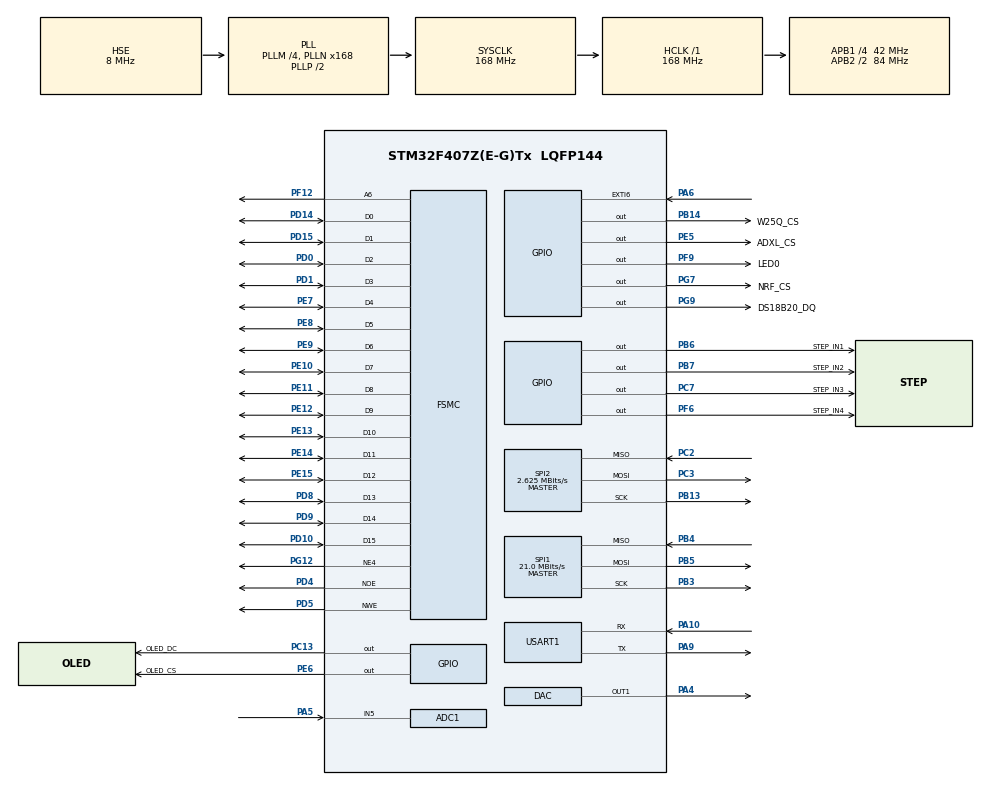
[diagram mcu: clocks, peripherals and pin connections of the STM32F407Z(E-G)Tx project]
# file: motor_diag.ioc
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ADC1.Channel-0\#ChannelRegularConversion=ADC_CHANNEL_5
ADC1.DMAContinuousRequests=ENABLE
ADC1.ExternalTrigConv=ADC_EXTERNALTRIGCONV_T2_TRGO
ADC1.NbrOfConversionFlag=1
ADC1.Rank-0\#ChannelRegularConversion=1
ADC1.SamplingTime-0\#ChannelRegularConversion=ADC_SAMPLETIME_15CYCLES
ADC1.master=1
DAC.DAC_Trigger=DAC_TRIGGER_T6_TRGO
Dma.ADC1.2.Direction=DMA_PERIPH_TO_MEMORY
Dma.ADC1.2.FIFOMode=DMA_FIFOMODE_DISABLE
Dma.ADC1.2.Instance=DMA2_Stream0
Dma.ADC1.2.MemDataAlignment=DMA_MDATAALIGN_HALFWORD
Dma.ADC1.2.MemInc=DMA_MINC_ENABLE
Dma.ADC1.2.Mode=DMA_CIRCULAR
Dma.ADC1.2.PeriphDataAlignment=DMA_PDATAALIGN_HALFWORD
Dma.ADC1.2.PeriphInc=DMA_PINC_DISABLE
Dma.ADC1.2.Priority=DMA_PRIORITY_LOW
Dma.DAC1.1.Direction=DMA_MEMORY_TO_PERIPH
Dma.DAC1.1.FIFOMode=DMA_FIFOMODE_DISABLE
Dma.DAC1.1.Instance=DMA1_Stream5
Dma.DAC1.1.MemDataAlignment=DMA_MDATAALIGN_HALFWORD
Dma.DAC1.1.MemInc=DMA_MINC_ENABLE
Dma.DAC1.1.Mode=DMA_CIRCULAR
Dma.DAC1.1.PeriphDataAlignment=DMA_PDATAALIGN_HALFWORD
Dma.DAC1.1.PeriphInc=DMA_PINC_DISABLE
Dma.DAC1.1.Priority=DMA_PRIORITY_LOW
Dma.Request0=USART1_RX
Dma.Request1=DAC1
Dma.Request2=ADC1
Dma.USART1_RX.0.Direction=DMA_PERIPH_TO_MEMORY
Dma.USART1_RX.0.FIFOMode=DMA_FIFOMODE_DISABLE
Dma.USART1_RX.0.Instance=DMA2_Stream2
Dma.USART1_RX.0.MemDataAlignment=DMA_MDATAALIGN_BYTE
Dma.USART1_RX.0.MemInc=DMA_MINC_ENABLE
Dma.USART1_RX.0.Mode=DMA_NORMAL
Dma.USART1_RX.0.PeriphDataAlignment=DMA_PDATAALIGN_BYTE
Dma.USART1_RX.0.PeriphInc=DMA_PINC_DISABLE
Dma.USART1_RX.0.Priority=DMA_PRIORITY_LOW
FREERTOS.Tasks01=defaultTask,24,256,StartDefaultTask,Default,NULL,Dynamic,NULL,NULL
FREERTOS.configCHECK_FOR_STACK_OVERFLOW=2
FREERTOS.configTOTAL_HEAP_SIZE=32768
FREERTOS.configUSE_STATS_FORMATTING_FUNCTIONS=1
IWDG.Prescaler=IWDG_PRESCALER_64
IWDG.Reload=1000
Mcu.Family=STM32F4
Mcu.Name=STM32F407Z(E-G)Tx
Mcu.Package=LQFP144
NVIC.DMA1_Stream5_IRQn=true\:5\:0\:false\:false\:true\:true\:false\:true\:true
NVIC.DMA2_Stream0_IRQn=true\:5\:0\:false\:false\:true\:true\:false\:true\:true
NVIC.DMA2_Stream2_IRQn=true\:6\:0\:true\:false\:true\:true\:false\:true\:true
NVIC.EXTI9_5_IRQn=true\:6\:0\:true\:false\:true\:true\:true\:true\:true
NVIC.PriorityGroup=NVIC_PRIORITYGROUP_4
NVIC.TIM7_IRQn=true\:3\:0\:true\:false\:true\:false\:true\:true\:true
NVIC.TIM8_TRG_COM_TIM14_IRQn=true\:15\:0\:false\:false\:true\:false\:false\:true\:true
NVIC.TimeBase=TIM8_TRG_COM_TIM14_IRQn
NVIC.TimeBaseIP=TIM14
NVIC.USART1_IRQn=true\:6\:0\:true\:false\:true\:true\:true\:true\:true
PA10.Mode=Asynchronous
PA10.Signal=USART1_RX
PA13.Mode=Serial_Wire
PA13.Signal=SYS_JTMS-SWDIO
PA14.Mode=Serial_Wire
PA14.Signal=SYS_JTCK-SWCLK
PA4.Signal=COMP_DAC1_group
PA5.Signal=ADCx_IN5
PA6.Signal=GPXTI6
PA9.Mode=Asynchronous
PA9.Signal=USART1_TX
PB13.Mode=Full_Duplex_Master
PB13.Signal=SPI2_SCK
PB14.GPIO_Label=W25Q_CS
PB14.GPIO_Speed=GPIO_SPEED_FREQ_VERY_HIGH
PB14.PinState=GPIO_PIN_SET
PB14.Signal=GPIO_Output
PB3.Mode=Full_Duplex_Master
PB3.Signal=SPI1_SCK
PB4.Mode=Full_Duplex_Master
PB4.Signal=SPI1_MISO
PB5.Mode=Full_Duplex_Master
PB5.Signal=SPI1_MOSI
PB6.GPIO_Label=STEP_IN1
PB6.Signal=GPIO_Output
PB7.GPIO_Label=STEP_IN2
PB7.Signal=GPIO_Output
PC13-ANTI_TAMP.GPIO_Label=OLED_DC
PC13-ANTI_TAMP.Signal=GPIO_Output
PC2.Mode=Full_Duplex_Master
PC2.Signal=SPI2_MISO
PC3.Mode=Full_Duplex_Master
PC3.Signal=SPI2_MOSI
PC7.GPIO_Label=STEP_IN3
PC7.Signal=GPIO_Output
PD0.Signal=FSMC_D2_DA2
PD1.Signal=FSMC_D3_DA3
PD10.Signal=FSMC_D15_DA15
PD14.Signal=FSMC_D0_DA0
PD15.Signal=FSMC_D1_DA1
PD4.Signal=FSMC_NOE
PD5.Signal=FSMC_NWE
PD8.Signal=FSMC_D13_DA13
PD9.Signal=FSMC_D14_DA14
PE10.Signal=FSMC_D7_DA7
PE11.Signal=FSMC_D8_DA8
PE12.Signal=FSMC_D9_DA9
PE13.Signal=FSMC_D10_DA10
PE14.Signal=FSMC_D11_DA11
PE15.Signal=FSMC_D12_DA12
PE5.GPIO_Label=ADXL_CS
PE5.GPIO_Speed=GPIO_SPEED_FREQ_HIGH
PE5.PinState=GPIO_PIN_SET
PE5.Signal=GPIO_Output
PE6.GPIO_Label=OLED_CS
PE6.GPIO_Speed=GPIO_SPEED_FREQ_HIGH
PE6.PinState=GPIO_PIN_SET
PE6.Signal=GPIO_Output
PE7.Signal=FSMC_D4_DA4
PE8.Signal=FSMC_D5_DA5
PE9.Signal=FSMC_D6_DA6
PF12.Signal=FSMC_A6
PF6.GPIO_Label=STEP_IN4
PF6.Signal=GPIO_Output
PF9.GPIO_Label=LED0
PF9.Signal=GPIO_Output
PG12.Mode=NorPsramChipSelect4_1
PG12.Signal=FSMC_NE4
PG7.GPIO_Label=NRF_CS
PG7.PinState=GPIO_PIN_SET
PG7.Signal=GPIO_Output
PG9.GPIO_Label=DS18B20_DQ
PG9.GPIO_ModeDefaultOutputPP=GPIO_MODE_OUTPUT_OD
PG9.GPIO_PuPd=GPIO_NOPULL
PG9.GPIO_Speed=GPIO_SPEED_FREQ_HIGH
PG9.PinState=GPIO_PIN_SET
PG9.Signal=GPIO_Output
PH0-OSC_IN.Mode=HSE-External-Oscillator
PH0-OSC_IN.Signal=RCC_OSC_IN
PH1-OSC_OUT.Mode=HSE-External-Oscillator
PH1-OSC_OUT.Signal=RCC_OSC_OUT
ProjectManager.HeapSize=0x200
ProjectManager.StackSize=0x400
ProjectManager.TargetToolchain=MDK-ARM V5.32
RCC.48MHZClocksFreq_Value=84000000
RCC.AHBFreq_Value=168000000
RCC.APB1CLKDivider=RCC_HCLK_DIV4
RCC.APB1Freq_Value=42000000
RCC.APB1TimFreq_Value=84000000
RCC.APB2CLKDivider=RCC_HCLK_DIV2
RCC.APB2Freq_Value=84000000
RCC.APB2TimFreq_Value=168000000
RCC.CortexFreq_Value=168000000
RCC.HCLKFreq_Value=168000000
RCC.HSE_VALUE=8000000
RCC.HSI_VALUE=16000000
RCC.LSE_VALUE=32768
RCC.PLLM=4
RCC.PLLN=168
RCC.PLLSourceVirtual=RCC_PLLSOURCE_HSE
RCC.SYSCLKFreq_VALUE=168000000
RCC.SYSCLKSource=RCC_SYSCLKSOURCE_PLLCLK
RCC.VCOOutputFreq_Value=336000000
SH.ADCx_IN5.0=ADC1_IN5,IN5
SH.COMP_DAC1_group.0=DAC_OUT1,DAC_OUT1
SH.FSMC_A6.0=FSMC_A6,A6_1
SH.FSMC_D0_DA0.0=FSMC_D0,16b-d1
SH.FSMC_D10_DA10.0=FSMC_D10,16b-d1
SH.FSMC_D11_DA11.0=FSMC_D11,16b-d1
SH.FSMC_D12_DA12.0=FSMC_D12,16b-d1
SH.FSMC_D13_DA13.0=FSMC_D13,16b-d1
SH.FSMC_D14_DA14.0=FSMC_D14,16b-d1
SH.FSMC_D15_DA15.0=FSMC_D15,16b-d1
SH.FSMC_D1_DA1.0=FSMC_D1,16b-d1
SH.FSMC_D2_DA2.0=FSMC_D2,16b-d1
SH.FSMC_D3_DA3.0=FSMC_D3,16b-d1
SH.FSMC_D4_DA4.0=FSMC_D4,16b-d1
SH.FSMC_D5_DA5.0=FSMC_D5,16b-d1
SH.FSMC_D6_DA6.0=FSMC_D6,16b-d1
SH.FSMC_D7_DA7.0=FSMC_D7,16b-d1
SH.FSMC_D8_DA8.0=FSMC_D8,16b-d1
SH.FSMC_D9_DA9.0=FSMC_D9,16b-d1
SH.FSMC_NOE.0=FSMC_NOE,Lcd1
SH.FSMC_NWE.0=FSMC_NWE,Lcd1
SPI1.BaudRatePrescaler=SPI_BAUDRATEPRESCALER_4
SPI1.CalculateBaudRate=21.0 MBits/s
SPI1.Direction=SPI_DIRECTION_2LINES
SPI1.Mode=SPI_MODE_MASTER
SPI1.VirtualType=VM_MASTER
SPI2.BaudRatePrescaler=SPI_BAUDRATEPRESCALER_16
SPI2.CLKPhase=SPI_PHASE_2EDGE
SPI2.CLKPolarity=SPI_POLARITY_HIGH
SPI2.CalculateBaudRate=2.625 MBits/s
SPI2.Direction=SPI_DIRECTION_2LINES
SPI2.Mode=SPI_MODE_MASTER
SPI2.VirtualType=VM_MASTER
TIM2.Period=8202
TIM2.TIM_MasterOutputTrigger=TIM_TRGO_UPDATE
TIM6.Period=3280
TIM6.TIM_MasterOutputTrigger=TIM_TRGO_UPDATE
TIM7.AutoReloadPreload=TIM_AUTORELOAD_PRELOAD_ENABLE
TIM7.Period=2499
TIM7.Prescaler=83
USART1.VirtualMode=VM_ASYNC
VP_FREERTOS_VS_CMSIS_V2.Mode=CMSIS_V2
VP_IWDG_VS_IWDG.Mode=IWDG_Activate
VP_SYS_VS_tim14.Mode=TIM14
VP_TIM2_VS_ClockSourceINT.Mode=Internal
VP_TIM6_VS_ClockSourceINT.Mode=Enable_Timer
VP_TIM7_VS_ClockSourceINT.Mode=Enable_Timer
board=custom

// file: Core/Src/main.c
/* USER CODE BEGIN Header */
/**
  ******************************************************************************
  * @file           : main.c
  * @brief          : Main program body
  ******************************************************************************
  * @attention
  *
  * Copyright (c) 2026 STMicroelectronics.
  * All rights reserved.
  *
  * This software is licensed under terms that can be found in the LICENSE file
  * in the root directory of this software component.
  * If no LICENSE file comes with this software, it is provided AS-IS.
  *
  ******************************************************************************
  */
/* USER CODE END Header */
#include "main.h"
#include "cmsis_os.h"
#include "adc.h"
#include "dac.h"
#include "dma.h"
#include "iwdg.h"
#include "spi.h"
#include "tim.h"
#include "usart.h"
#include "gpio.h"
#include "fsmc.h"

/* USER CODE BEGIN Includes */
#include "bsp_dwt.h"
#include "bsp_stepper.h"
#include "bsp_adxl345.h"
#include "app_dsp.h"
/* USER CODE END Includes */

void SystemClock_Config(void);
void MX_FREERTOS_Init(void);

int main(void)
{

  /* MCU Configuration--------------------------------------------------------*/

  /* Reset of all peripherals, Initializes the Flash interface and the Systick. */
  HAL_Init();

  /* USER CODE BEGIN Init */
BSP_DWT_Init();
  /* USER CODE END Init */

  /* Configure the system clock */
  SystemClock_Config();

  /* Initialize all configured peripherals */
  MX_GPIO_Init();
  MX_DMA_Init();
  MX_USART1_UART_Init();
  MX_DAC_Init();
  MX_TIM6_Init();
  MX_ADC1_Init();
  MX_TIM2_Init();
  MX_SPI1_Init();
  MX_SPI2_Init();
  MX_TIM7_Init();
  MX_FSMC_Init();
  MX_IWDG_Init();

  /* Init scheduler */
  osKernelInitialize();  /* Call init function for freertos objects (in cmsis_os2.c) */
  MX_FREERTOS_Init();

  /* Start scheduler */
  osKernelStart();

  /* We should never get here as control is now taken by the scheduler */

  /* Infinite loop */
  while (1)
  {

  }
}

void SystemClock_Config(void)
{
  RCC_OscInitTypeDef RCC_OscInitStruct = {0};
  RCC_ClkInitTypeDef RCC_ClkInitStruct = {0};

  /** Configure the main internal regulator output voltage
  */
  __HAL_RCC_PWR_CLK_ENABLE();
  __HAL_PWR_VOLTAGESCALING_CONFIG(PWR_REGULATOR_VOLTAGE_SCALE1);

  /** Initializes the RCC Oscillators according to the specified parameters
  * in the RCC_OscInitTypeDef structure.
  */
  RCC_OscInitStruct.OscillatorType = RCC_OSCILLATORTYPE_LSI|RCC_OSCILLATORTYPE_HSE;
  RCC_OscInitStruct.HSEState = RCC_HSE_ON;
  RCC_OscInitStruct.LSIState = RCC_LSI_ON;
  RCC_OscInitStruct.PLL.PLLState = RCC_PLL_ON;
  RCC_OscInitStruct.PLL.PLLSource = RCC_PLLSOURCE_HSE;
  RCC_OscInitStruct.PLL.PLLM = 4;
  RCC_OscInitStruct.PLL.PLLN = 168;
  RCC_OscInitStruct.PLL.PLLP = RCC_PLLP_DIV2;
  RCC_OscInitStruct.PLL.PLLQ = 4;
  if (HAL_RCC_OscConfig(&RCC_OscInitStruct) != HAL_OK)
  {
    Error_Handler();
  }

  /** Initializes the CPU, AHB and APB buses clocks
  */
  RCC_ClkInitStruct.ClockType = RCC_CLOCKTYPE_HCLK|RCC_CLOCKTYPE_SYSCLK
                              |RCC_CLOCKTYPE_PCLK1|RCC_CLOCKTYPE_PCLK2;
  RCC_ClkInitStruct.SYSCLKSource = RCC_SYSCLKSOURCE_PLLCLK;
  RCC_ClkInitStruct.AHBCLKDivider = RCC_SYSCLK_DIV1;
  RCC_ClkInitStruct.APB1CLKDivider = RCC_HCLK_DIV4;
  RCC_ClkInitStruct.APB2CLKDivider = RCC_HCLK_DIV2;

  if (HAL_RCC_ClockConfig(&RCC_ClkInitStruct, FLASH_LATENCY_5) != HAL_OK)
  {
    Error_Handler();
  }
}

/* USER CODE BEGIN 4 */
void HAL_GPIO_EXTI_Callback(uint16_t GPIO_Pin)
{
    if (GPIO_Pin == GPIO_PIN_6)
    {
     APP_DSP_OnAdxlExtiFromISR();
    }
}
/* USER CODE END 4 */

void HAL_TIM_PeriodElapsedCallback(TIM_HandleTypeDef *htim)
{
  /* USER CODE BEGIN Callback 0 */
if (htim->Instance == TIM7)
{
    BSP_Stepper_OnTimPeriodElapsed();
}
  /* USER CODE END Callback 0 */
  if (htim->Instance == TIM14)
  {
    HAL_IncTick();
  }
}

void Error_Handler(void)
{
  __disable_irq();
  while (1)
  {
  }
}

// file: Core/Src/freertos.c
/* USER CODE BEGIN Header */
/**
  ******************************************************************************
  * File Name          : freertos.c
  * Description        : Code for freertos applications
  ******************************************************************************
  * @attention
  *
  * Copyright (c) 2026 STMicroelectronics.
  * All rights reserved.
  *
  * This software is licensed under terms that can be found in the LICENSE file
  * in the root directory of this software component.
  * If no LICENSE file comes with this software, it is provided AS-IS.
  *
  ******************************************************************************
  */
/* USER CODE END Header */

#include "FreeRTOS.h"
#include "task.h"
#include "main.h"
#include "cmsis_os.h"

/* USER CODE BEGIN Includes */
#include "app_cli.h"
#include "app_dsp.h"
#include "bsp_w25qxx.h"
#include "app_blackbox.h"
#include "bsp_bkpsram.h"
#include "app_sensor_ui.h"
#include "app_supervisor.h"
/* USER CODE END Includes */

/* Definitions for defaultTask */
osThreadId_t defaultTaskHandle;
const osThreadAttr_t defaultTask_attributes = {
  .name = "defaultTask",
  .stack_size = 256 * 4,
  .priority = (osPriority_t) osPriorityNormal,
};

void StartDefaultTask(void *argument);

void MX_FREERTOS_Init(void); /* (MISRA C 2004 rule 8.1) */

/* Hook prototypes */
void vApplicationStackOverflowHook(xTaskHandle xTask, signed char *pcTaskName);

/* USER CODE BEGIN 4 */
void vApplicationStackOverflowHook(xTaskHandle xTask, signed char *pcTaskName)
{
   /* Run time stack overflow checking is performed if
   configCHECK_FOR_STACK_OVERFLOW is defined to 1 or 2. This hook function is
   called if a stack overflow is detected. */
}
/* USER CODE END 4 */

void MX_FREERTOS_Init(void) {

  /* Create the thread(s) */
  /* creation of defaultTask */
  defaultTaskHandle = osThreadNew(StartDefaultTask, NULL, &defaultTask_attributes);

  /* USER CODE BEGIN RTOS_THREADS */
BSP_BkpSram_Init();
APP_CLI_Init();
APP_Blackbox_Init();
APP_DSP_Init();
APP_SensorUI_Init();
APP_Supervisor_Init();
  /* USER CODE END RTOS_THREADS */

}

void StartDefaultTask(void *argument)
{
  /* USER CODE BEGIN StartDefaultTask */
  /* Infinite loop */
    uint32_t flash_id = BSP_W25Q_ReadJEDECID();

  for(;;)
  {

 HAL_GPIO_TogglePin(LED0_GPIO_Port, LED0_Pin);
    osDelay(500);
  }
  /* USER CODE END StartDefaultTask */
}
